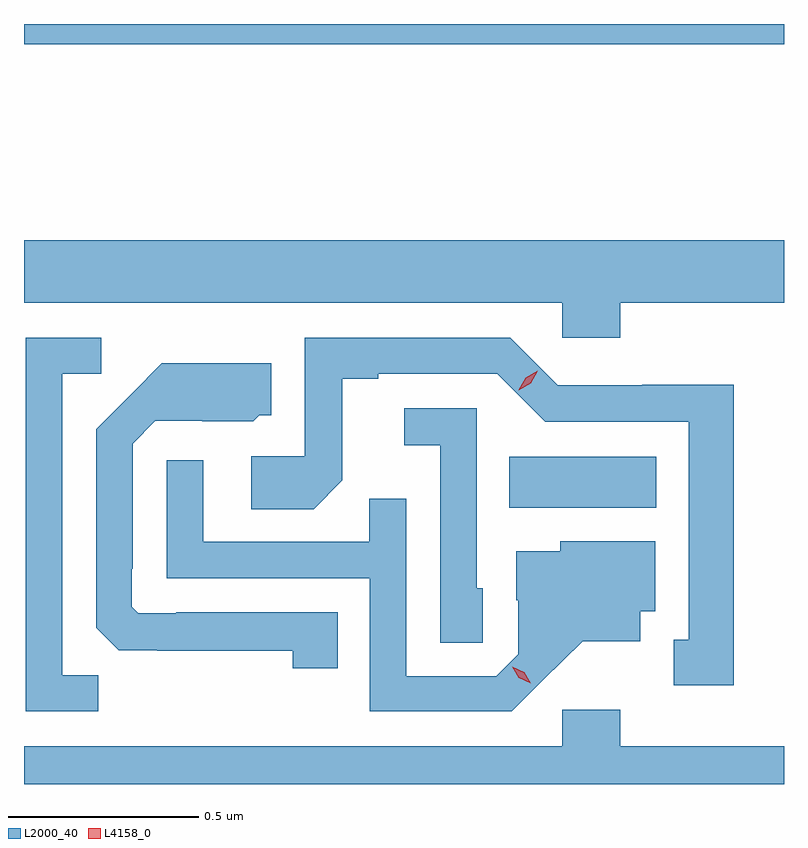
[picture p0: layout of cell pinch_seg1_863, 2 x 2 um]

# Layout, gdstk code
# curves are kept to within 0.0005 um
import gdstk
lib = gdstk.Library(unit=1e-6, precision=1e-09)
def R(c, l, rs):  # rectangles x0, y0, x1, y1
    for r in rs: c.add(gdstk.rectangle(r[:2], r[2:], *l))
def P(c, l, *ps):  # polygons
    for p in ps: c.add(gdstk.Polygon(p, *l))
L2000_40 = (2000, 40)
L4158_0 = (4158, 0)

pinch_seg1_863 = lib.new_cell('pinch_seg1_863')
R(pinch_seg1_863, L2000_40, [(485.02,579.164,485.407,579.298), (483.743,580.384,485.743,580.437)])
P(pinch_seg1_863, L2000_40, [(485.312,579.704),(485.743,579.704),(485.743,579.868),(483.743,579.868),(483.743,579.704),(485.16,579.704),(485.16,579.611),(485.312,579.611)],
  [(485.611,579.488),(485.37,579.488),(485.37,579.486),(485.148,579.486),(485.022,579.612),(484.482,579.612),(484.482,579.3),(484.341,579.3),(484.341,579.16),(484.505,579.16),(484.581,579.236),(484.581,579.504),(484.675,579.504),(484.675,579.516),(484.989,579.516),(485.115,579.39),(485.492,579.39),(485.492,578.817),(485.453,578.817),(485.453,578.697),(485.611,578.697)],
  [(483.939,578.723),(483.843,578.723),(483.843,579.516),(483.946,579.516),(483.946,579.612),(483.747,579.612),(483.747,578.628),(483.939,578.628)],
  [(484.568,578.889),(484.144,578.889),(484.144,578.886),(484.044,578.886),(484.026,578.904),(484.026,579.004),(484.029,579.004),(484.029,579.333),(484.089,579.393),(484.212,579.393),(484.212,579.392),(484.346,579.392),(484.362,579.408),(484.393,579.408),(484.393,579.544),(484.105,579.544),(483.933,579.37),(483.933,578.848),(483.992,578.789),(484.093,578.789),(484.093,578.788),(484.45,578.788),(484.45,578.742),(484.568,578.742)],
  [(484.95,578.952),(484.935,578.952),(484.935,579.426),(484.743,579.426),(484.743,579.329),(484.839,579.329),(484.839,578.809),(484.95,578.809)],
  [(485.11,578.711),(485.213,578.813),(485.365,578.813),(485.365,578.892),(485.404,578.892),(485.404,579.076),(485.154,579.076),(485.154,579.049),(485.039,579.049),(485.039,578.92),(485.043,578.92),(485.043,578.778),(484.986,578.721),(484.749,578.721),(484.749,579.188),(484.651,579.188),(484.651,579.075),(484.215,579.075),(484.215,579.289),(484.119,579.289),(484.119,578.979),(484.653,578.979),(484.653,578.628),(485.026,578.628)],
  [(485.743,578.536),(485.312,578.536),(485.312,578.632),(485.16,578.632),(485.16,578.536),(483.743,578.536),(483.743,578.437),(485.743,578.437)])
P(pinch_seg1_863, L4158_0, [(485.045,579.473),(485.045,579.474),(485.063,579.506),(485.095,579.525),(485.095,579.525),(485.095,579.524),(485.077,579.492),(485.045,579.473)],
  [(485.076,578.702),(485.045,578.717),(485.028,578.746),(485.028,578.746),(485.028,578.746),(485.059,578.731),(485.076,578.702),(485.076,578.702)])

lib.write_gds('pinch_seg1_863.gds')
